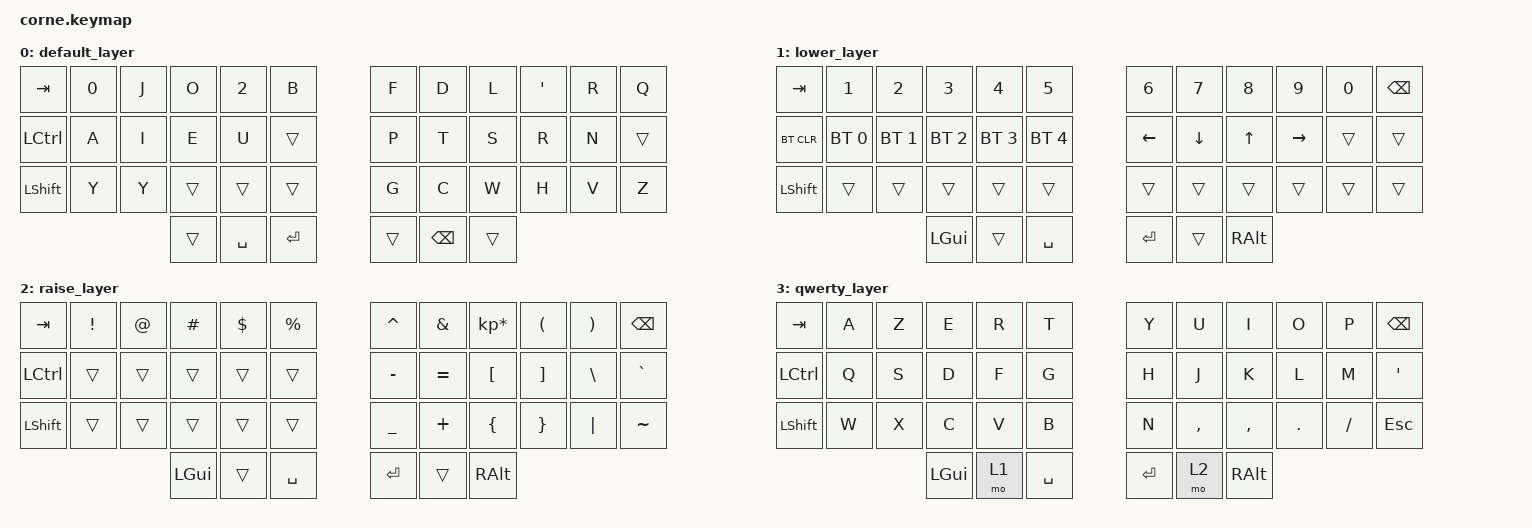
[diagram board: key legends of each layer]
/*
 * Copyright (c) 2020 The ZMK Contributors
 *
 * SPDX-License-Identifier: MIT
 */

#include <behaviors.dtsi>
#include <dt-bindings/zmk/bt.h>
#include <dt-bindings/zmk/keys.h>

/ {
    keymap {
        compatible = "zmk,keymap";
        default_layer {
            // -----------------------------------------------------------------------------------------
            // |  TAB |  à  |  J  |  O  |  é  |  B  |   |  F  |  D  |  L  |  ?  |  Q  | BKSP |
            // | CTRL |  A  |  I  |  E  |  U  |  ,  |   |  P  |  T  |  S  |  R  |  N  |  !   |
            // | SHFT |     |  Y  |  è  |  .  |  k  |   |  G  |  C  |  W  |  ç  |  V  |  z   |
            // 
            
            bindings = <
&kp TAB     &kp N0  &kp J  &kp O   &kp N2     &kp B        &kp F   &kp D          &kp L   &kp SQT  &kp R  &kp Q
&kp LCTRL   &kp A   &kp I  &kp E   &kp U      &trans       &kp P   &kp T          &kp S   &kp R    &kp N  &trans
&kp LSHFT   &kp Y   &kp Y  &trans  &trans     &trans       &kp G   &kp C          &kp W   &kp H    &kp V  &kp Z
                       &trans  &kp SPACE  &kp ENTER    &trans  &kp BACKSPACE  &trans
            >;
        };


        lower_layer {
            // -----------------------------------------------------------------------------------------
            // |  TAB |  1  |  2  |  3  |  4  |  5  |   |  6  |  7  |  8  |  9  |  0  | BKSP |
            // | BTCLR| BT1 | BT2 | BT3 | BT4 | BT5 |   | LFT | DWN |  UP | RGT |     |      |
            // | SHFT |     |     |     |     |     |   |     |     |     |     |     |      |
            //                    | GUI |     | SPC |   | ENT |     | ALT |

            bindings = <
&kp TAB     &kp N1        &kp N2        &kp N3        &kp N4        &kp N5          &kp N6    &kp N7    &kp N8    &kp N9     &kp N0  &kp BSPC
&bt BT_CLR  &bt BT_SEL 0  &bt BT_SEL 1  &bt BT_SEL 2  &bt BT_SEL 3  &bt BT_SEL 4    &kp LEFT  &kp DOWN  &kp UP    &kp RIGHT  &trans  &trans
&kp LSHFT   &trans        &trans        &trans        &trans        &trans          &trans    &trans    &trans    &trans     &trans  &trans
                                        &kp LGUI      &trans        &kp SPACE       &kp RET   &trans    &kp RALT
            >;
        };

        raise_layer {
            // -----------------------------------------------------------------------------------------
            // |  TAB |  !  |  @  |  #  |  $  |  %  |   |  ^  |  &  |  *  |  (  |  )  | BKSP |
            // | CTRL |     |     |     |     |     |   |  -  |  =  |  [  |  ]  |  \  |  `   |
            // | SHFT |     |     |     |     |     |   |  _  |  +  |  {  |  }  | "|" |  ~   |
            //                    | GUI |     | SPC |   | ENT |     | ALT |

            bindings = <
&kp TAB    &kp EXCL  &kp AT  &kp HASH  &kp DLLR  &kp PRCNT    &kp CARET  &kp AMPS   &kp KP_MULTIPLY  &kp LPAR  &kp RPAR  &kp BSPC
&kp LCTRL  &trans    &trans  &trans    &trans    &trans       &kp MINUS  &kp EQUAL  &kp LBKT         &kp RBKT  &kp BSLH  &kp GRAVE
&kp LSHFT  &trans    &trans  &trans    &trans    &trans       &kp UNDER  &kp PLUS   &kp LBRC         &kp RBRC  &kp PIPE  &kp TILDE
                             &kp LGUI  &trans    &kp SPACE    &kp RET    &trans     &kp RALT
            >;
        };

        qwerty_layer {
            // -----------------------------------------------------------------------------------------
            // |  TAB |  Q  |  W  |  E  |  R  |  T  |   |  Y  |  U   |  I  |  O  |  P  | BKSP |
            // | CTRL |  A  |  S  |  D  |  F  |  G  |   |  H  |  J   |  K  |  L  |  ;  |  '   |
            // | SHFT |  Z  |  X  |  C  |  V  |  B  |   |  N  |  M   |  ,  |  .  |  /  | ESC  |
            //                    | GUI | LWR | SPC |   | ENT | RSE  | ALT |

            bindings = <
&kp TAB    &kp A  &kp Z  &kp E     &kp R  &kp T        &kp Y    &kp U      &kp I      &kp O    &kp P     &kp BSPC
&kp LCTRL  &kp Q  &kp S  &kp D     &kp F  &kp G        &kp H    &kp J      &kp K      &kp L    &kp M     &kp SQT
&kp LSHFT  &kp W  &kp X  &kp C     &kp V  &kp B        &kp N    &kp COMMA  &kp COMMA  &kp DOT  &kp FSLH  &kp ESC
                         &kp LGUI  &mo 1  &kp SPACE    &kp RET  &mo 2      &kp RALT
            >;
        };

    };
};
